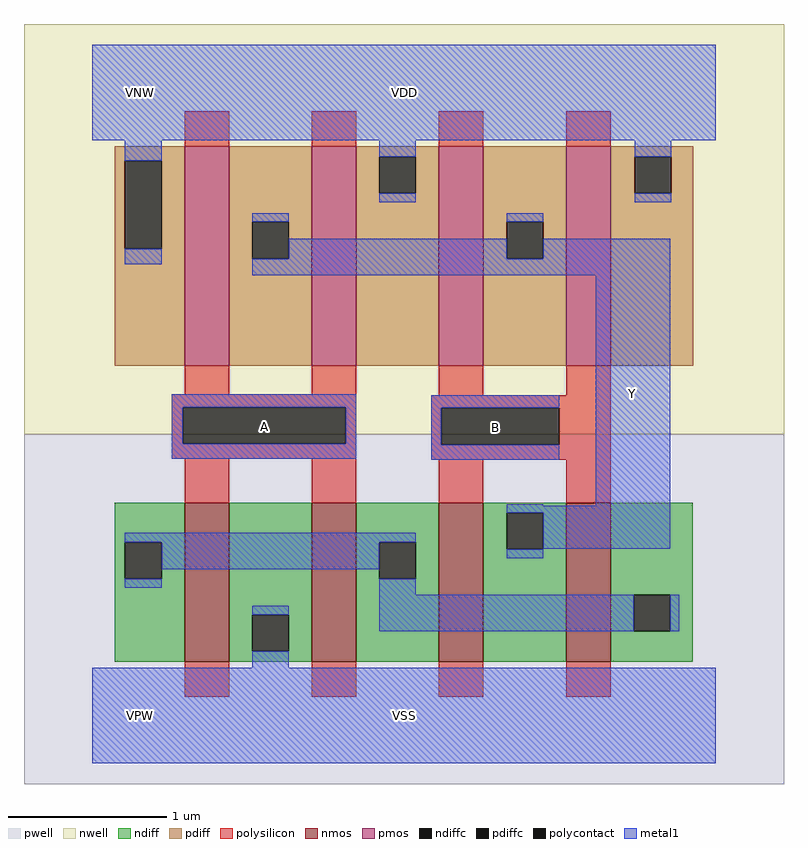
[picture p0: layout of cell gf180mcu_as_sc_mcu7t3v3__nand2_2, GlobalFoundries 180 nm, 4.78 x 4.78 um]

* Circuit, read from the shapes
.subckt gf180mcu_as_sc_mcu7t3v3__nand2_2 VDD VNW VPW VSS Y B A
XM1 VSS A n1 VPW nfet_03v3 w=1u l=0.28u m=2
XM2 Y B n1 VPW nfet_03v3 w=1u l=0.28u m=2
XM3 Y A VDD VNW pfet_03v3 w=1.38u l=0.28u m=2
XM4 Y B VDD VNW pfet_03v3 w=1.38u l=0.28u m=2
.ends

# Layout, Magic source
magic
tech gf180mcuD
magscale 1 10
<< nwell >>
rect -86 354 870 870
<< pwell >>
rect -86 -86 870 354
<< nmos >>
rect 116 68 172 268
rect 276 68 332 268
rect 436 68 492 268
rect 596 68 652 268
<< pmos >>
rect 116 440 172 716
rect 276 440 332 716
rect 436 440 492 716
rect 596 440 652 716
<< ndiff >>
rect 28 218 116 268
rect 28 172 41 218
rect 87 172 116 218
rect 28 68 116 172
rect 172 127 276 268
rect 172 81 201 127
rect 247 81 276 127
rect 172 68 276 81
rect 332 218 436 268
rect 332 172 361 218
rect 407 172 436 218
rect 332 68 436 172
rect 492 255 596 268
rect 492 209 521 255
rect 567 209 596 255
rect 492 68 596 209
rect 652 152 755 268
rect 652 106 681 152
rect 727 106 755 152
rect 652 68 755 106
<< pdiff >>
rect 28 698 116 716
rect 28 587 41 698
rect 87 587 116 698
rect 28 440 116 587
rect 172 621 276 716
rect 172 575 201 621
rect 247 575 276 621
rect 172 440 276 575
rect 332 703 436 716
rect 332 657 361 703
rect 407 657 436 703
rect 332 440 436 657
rect 492 621 596 716
rect 492 575 521 621
rect 567 575 596 621
rect 492 440 596 575
rect 652 703 756 716
rect 652 657 682 703
rect 728 657 756 703
rect 652 440 756 657
<< ndiffc >>
rect 41 172 87 218
rect 201 81 247 127
rect 361 172 407 218
rect 521 209 567 255
rect 681 106 727 152
<< pdiffc >>
rect 41 587 87 698
rect 201 575 247 621
rect 361 657 407 703
rect 521 575 567 621
rect 682 657 728 703
<< polysilicon >>
rect 116 716 172 760
rect 276 716 332 760
rect 436 716 492 760
rect 596 716 652 760
rect 116 404 172 440
rect 276 404 332 440
rect 100 388 332 404
rect 436 403 492 440
rect 596 403 652 440
rect 100 342 114 388
rect 319 342 332 388
rect 100 323 332 342
rect 116 268 172 323
rect 276 268 332 323
rect 426 387 652 403
rect 426 341 439 387
rect 587 341 652 387
rect 426 322 652 341
rect 436 268 492 322
rect 596 268 652 322
rect 116 24 172 68
rect 276 24 332 68
rect 436 24 492 68
rect 596 24 652 68
<< polycontact >>
rect 114 342 319 388
rect 439 341 587 387
<< metal1 >>
rect 0 724 784 844
rect 41 698 87 724
rect 361 703 407 724
rect 361 646 407 657
rect 682 703 728 724
rect 682 646 728 657
rect 41 568 87 587
rect 201 621 247 632
rect 521 621 567 632
rect 247 575 521 600
rect 567 575 727 600
rect 201 554 727 575
rect 100 388 332 404
rect 100 342 114 388
rect 319 342 332 388
rect 100 323 332 342
rect 426 387 587 403
rect 426 341 439 387
rect 426 322 587 341
rect 521 264 567 266
rect 633 264 727 554
rect 521 255 727 264
rect 41 218 407 230
rect 87 184 361 218
rect 41 161 87 172
rect 567 210 727 255
rect 521 198 567 209
rect 361 152 407 172
rect 201 127 247 138
rect 361 106 681 152
rect 727 106 738 152
rect 201 60 247 81
rect 0 -60 784 60
<< labels >>
flabel metal1 s 0 724 784 844 0 FreeSans 400 0 0 0 VDD
port 1 nsew power bidirectional abutment
flabel metal1 s 0 -60 784 60 0 FreeSans 400 0 0 0 VSS
port 4 nsew ground bidirectional abutment
flabel nwell s 10 734 110 834 0 FreeSans 400 0 0 0 VNW
port 2 nsew power bidirectional
flabel pwell s 10 -50 110 50 0 FreeSans 400 0 0 0 VPW
port 3 nsew ground bidirectional
flabel metal1 633 210 727 600 0 FreeSans 200 0 0 0 Y
port 5 nsew signal output
flabel metal1 426 322 587 403 0 FreeSans 200 0 0 0 B
port 6 nsew signal input
flabel metal1 100 323 332 404 0 FreeSans 200 0 0 0 A
port 7 nsew signal input
<< properties >>
string FIXED_BBOX 0 0 784 784
string LEFclass CORE
string LEFsite unithd
string LEFsymmetry X Y
string MASKHINTS_NPLUS -16 -46 800 354
string MASKHINTS_PPLUS -16 354 800 830
<< end >>
